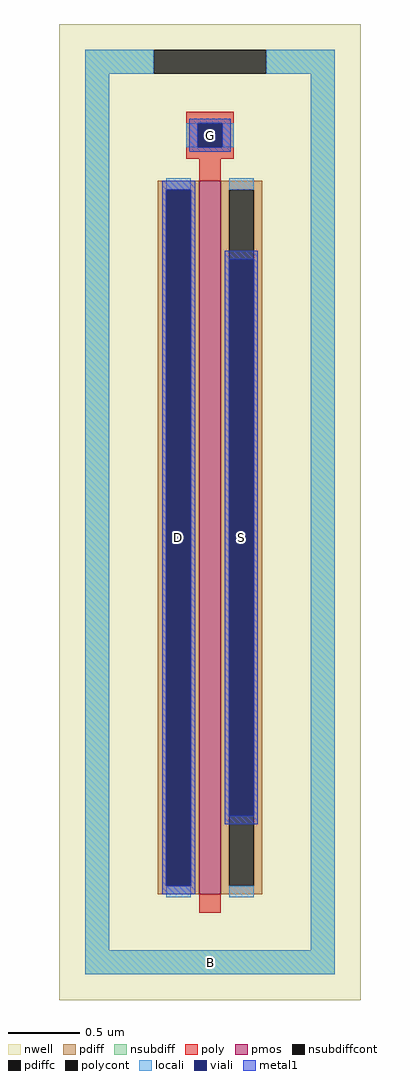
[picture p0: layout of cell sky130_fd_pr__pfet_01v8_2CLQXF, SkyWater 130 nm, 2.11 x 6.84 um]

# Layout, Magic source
magic
tech sky130A
magscale 1 2
<< nwell >>
rect -211 -684 211 684
<< pmos >>
rect -15 -536 15 464
<< pdiff >>
rect -73 452 -15 464
rect -73 -524 -61 452
rect -27 -524 -15 452
rect -73 -536 -15 -524
rect 15 452 73 464
rect 15 -524 27 452
rect 61 -524 73 452
rect 15 -536 73 -524
<< pdiffc >>
rect -61 -524 -27 452
rect 27 -524 61 452
<< nsubdiff >>
rect -175 614 -79 648
rect 79 614 175 648
rect -175 -614 -141 614
rect 141 -614 175 614
rect -175 -648 175 -614
<< nsubdiffcont >>
rect -79 614 79 648
<< poly >>
rect -33 545 33 561
rect -33 511 -17 545
rect 17 511 33 545
rect -33 495 33 511
rect -15 464 15 495
rect -15 -562 15 -536
<< polycont >>
rect -17 511 17 545
<< locali >>
rect -175 614 -79 648
rect 79 614 175 648
rect -175 -614 -141 614
rect -33 511 -17 545
rect 17 511 33 545
rect -61 452 -27 468
rect -61 -540 -27 -524
rect 27 452 61 468
rect 27 -540 61 -524
rect 141 -614 175 614
rect -175 -648 175 -614
<< viali >>
rect -17 511 17 545
rect -61 -524 -27 452
rect 27 -426 61 354
<< metal1 >>
rect -29 545 29 551
rect -29 511 -17 545
rect 17 511 29 545
rect -29 505 29 511
rect -67 452 -21 464
rect -67 -524 -61 452
rect -27 -524 -21 452
rect 21 354 67 366
rect 21 -426 27 354
rect 61 -426 67 354
rect 21 -438 67 -426
rect -67 -536 -21 -524
<< labels >>
rlabel nsubdiff 0 -631 0 -631 0 B
port 1 nsew
rlabel pdiffc -44 -36 -44 -36 0 D
port 2 nsew
rlabel pdiffc 44 -36 44 -36 0 S
port 3 nsew
rlabel polycont 0 528 0 528 0 G
port 4 nsew
<< properties >>
string FIXED_BBOX -158 -631 158 631
string gencell sky130_fd_pr__pfet_01v8
string library sky130
string parameters w 5 l 0.15 m 1 nf 1 diffcov 100 polycov 100 guard 1 glc 0 grc 0 gtc 1 gbc 0 tbcov 100 rlcov 100 topc 1 botc 0 poverlap 0 doverlap 1 lmin 0.15 wmin 0.42 class mosfet compatible {sky130_fd_pr__pfet_01v8  sky130_fd_pr__pfet_01v8_lvt sky130_fd_pr__pfet_01v8_hvt  sky130_fd_pr__pfet_g5v0d10v5} full_metal 1 viasrc 80 viadrn 100 viagate 100 viagb 0 viagr 0 viagl 0 viagt 0 doports 1
<< end >>
